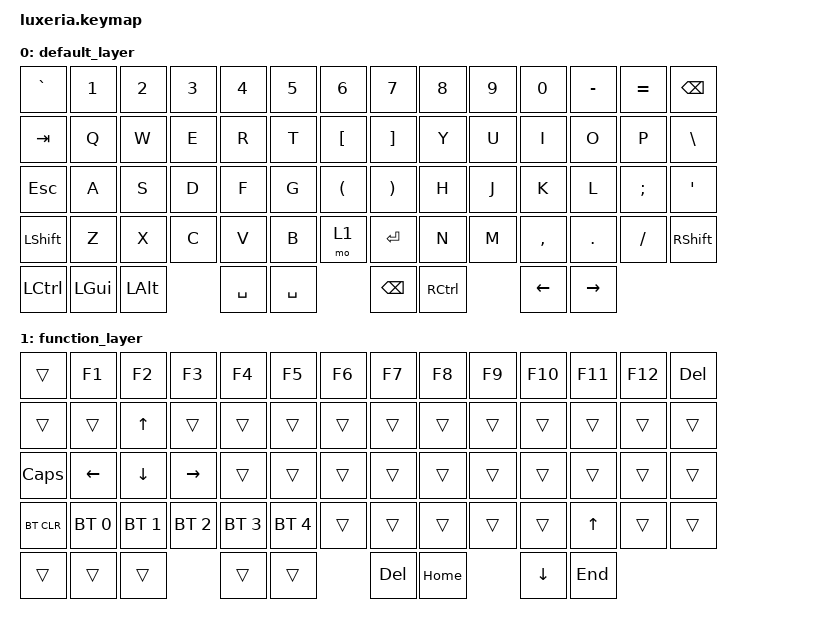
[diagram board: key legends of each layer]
/*
 * Copyright (c) 2024 The ZMK Contributors
 * SPDX-License-Identifier: MIT
 */

#include <behaviors.dtsi>
#include <dt-bindings/zmk/keys.h>
#include <dt-bindings/zmk/bt.h>
#include <dt-bindings/zmk/mouse.h>

/ {
    keymap {
        compatible = "zmk,keymap";

        default_layer {
            bindings = <
                &kp GRAVE &kp N1 &kp N2 &kp N3 &kp N4 &kp N5 &kp N6       &kp N7 &kp N8 &kp N9 &kp N0 &kp MINUS &kp EQUAL &kp BSPC
                &kp TAB   &kp Q  &kp W  &kp E  &kp R  &kp T  &kp LBKT     &kp RBKT &kp Y  &kp U  &kp I  &kp O     &kp P     &kp BSLH
                &kp ESC   &kp A  &kp S  &kp D  &kp F  &kp G  &kp LPAR     &kp RPAR &kp H  &kp J  &kp K  &kp L     &kp SEMI  &kp SQT
                &kp LSHFT &kp Z  &kp X  &kp C  &kp V  &kp B  &mo 1        &kp RET  &kp N  &kp M  &kp COMMA &kp DOT &kp FSLH &kp RSHFT
                &kp LCTRL &kp LGUI &kp LALT &kp SPACE &kp SPACE           &kp BSPC &kp RCTRL &kp LEFT &kp RIGHT
            >;
        };

        function_layer {
            bindings = <
                &trans    &kp F1 &kp F2 &kp F3 &kp F4 &kp F5 &kp F6       &kp F7   &kp F8 &kp F9 &kp F10 &kp F11  &kp F12   &kp DEL
                &trans    &trans &kp UP &trans &trans &trans &trans       &trans   &trans &trans &trans  &trans   &trans    &trans
                &kp CAPS  &kp LEFT &kp DOWN &kp RIGHT &trans &trans &trans &trans  &trans &trans &trans  &trans   &trans    &trans
                &bt BT_CLR &bt BT_SEL 0 &bt BT_SEL 1 &bt BT_SEL 2 &bt BT_SEL 3 &bt BT_SEL 4 &trans &trans &trans &trans &trans &kp UP &trans &trans
                &trans    &trans &trans &trans &trans                     &kp DEL  &kp HOME &kp DOWN  &kp END
            >;
        };
    };
};
